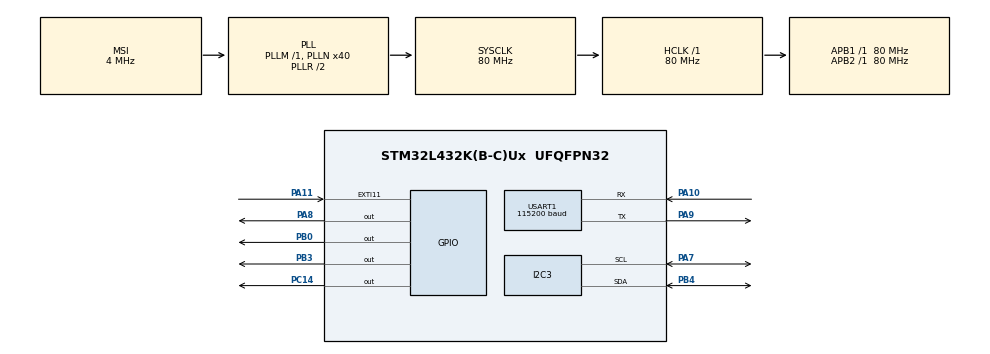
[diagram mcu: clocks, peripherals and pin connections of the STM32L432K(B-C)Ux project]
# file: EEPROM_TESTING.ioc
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I2C3.Speed=50
I2C3.Timing=0x30408CFF
Mcu.Family=STM32L4
Mcu.Name=STM32L432K(B-C)Ux
Mcu.Package=UFQFPN32
NVIC.EXTI15_10_IRQn=true\:0\:0\:false\:false\:true\:true\:true
NVIC.PriorityGroup=NVIC_PRIORITYGROUP_4
PA10.Mode=Asynchronous
PA10.Signal=USART1_RX
PA11.Signal=GPXTI11
PA13\ (JTMS-SWDIO).Mode=Serial_Wire
PA13\ (JTMS-SWDIO).Signal=SYS_JTMS-SWDIO
PA14\ (JTCK-SWCLK).Mode=Serial_Wire
PA14\ (JTCK-SWCLK).Signal=SYS_JTCK-SWCLK
PA7.Mode=I2C
PA7.Signal=I2C3_SCL
PA8.Signal=GPIO_Output
PA9.Mode=Asynchronous
PA9.Signal=USART1_TX
PB0.Signal=GPIO_Output
PB3\ (JTDO-TRACESWO).Signal=GPIO_Output
PB4\ (NJTRST).Mode=I2C
PB4\ (NJTRST).Signal=I2C3_SDA
PC14-OSC32_IN\ (PC14).Signal=GPIO_Output
ProjectManager.HeapSize=0x200
ProjectManager.StackSize=0x400
ProjectManager.TargetToolchain=SW4STM32
RCC.ADCFreq_Value=48000000
RCC.AHBFreq_Value=80000000
RCC.APB1Freq_Value=80000000
RCC.APB1TimFreq_Value=80000000
RCC.APB2Freq_Value=80000000
RCC.APB2TimFreq_Value=80000000
RCC.CortexFreq_Value=80000000
RCC.HCLKFreq_Value=80000000
RCC.HSE_VALUE=8000000
RCC.HSI48_VALUE=48000000
RCC.HSI_VALUE=16000000
RCC.LSE_VALUE=32768
RCC.MSI_VALUE=4000000
RCC.PLLN=40
RCC.PLLSAI1N=24
RCC.SYSCLKFreq_VALUE=80000000
RCC.SYSCLKSource=RCC_SYSCLKSOURCE_PLLCLK
RCC.USBFreq_Value=48000000
RCC.VCOOutputFreq_Value=160000000
USART1.BaudRate=115200
USART1.VirtualMode-Asynchronous=VM_ASYNC
board=custom

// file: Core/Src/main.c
/* USER CODE BEGIN Header */
/**
  ******************************************************************************
  * @file           : main.c
  * @brief          : Main program body
  ******************************************************************************
  * @attention
  *
  * <h2><center>&copy; Copyright (c) 2020 STMicroelectronics.
  * All rights reserved.</center></h2>
  *
  * This software component is licensed by ST under BSD 3-Clause license,
  * the "License"; You may not use this file except in compliance with the
  * License. You may obtain a copy of the License at:
  *                        opensource.org/licenses/BSD-3-Clause
  *
  ******************************************************************************
  */
/* USER CODE END Header */
#include "main.h"

/* USER CODE BEGIN Includes */
#include "i2c-lcd.h"
#include "eeprom.h"
#include "math.h"
/* USER CODE END Includes */

I2C_HandleTypeDef hi2c3;

UART_HandleTypeDef huart1;

void SystemClock_Config(void);
static void MX_GPIO_Init(void);
static void MX_I2C3_Init(void);
static void MX_USART1_UART_Init(void);

/* USER CODE BEGIN 0 */
uint8_t g_dump = 0;
/* USER CODE END 0 */

int main(void)
{

  /* MCU Configuration--------------------------------------------------------*/

  /* Reset of all peripherals, Initializes the Flash interface and the Systick. */
  HAL_Init();

  /* Configure the system clock */
  SystemClock_Config();

  /* Initialize all configured peripherals */
  MX_GPIO_Init();
  MX_I2C3_Init();
  MX_USART1_UART_Init();
  /* USER CODE BEGIN 2 */

  eepromInitialize(&hi2c3, 4000, 0x50);
  uint8_t a = 10;
  char aName[3] = "eea";
  uint8_t b = 20;
  char bName[3] = "eeb";
  uint8_t c = 30;
  char cName[3] = "eec";
  uint8_t d = 40;
  char dName[3] = "eed";
  uint8_t numList[] = {65,65,65,65,64,64,64,64,64,6,464,6,6,6,6,5};
  uint8_t backList[] = {420,420,420};
  char letters[] = "This is a test of addresses";

  eepromLinkStruct(&letters, sizeof(letters), "raj", 2, 0);
  //eLinkStruct(&letters, sizeof(letters), lName, 0);
  //eLinkStruct(&b, sizeof(b), bName, 2, 0);
  //eepromLinkStruct(&numList, sizeof(numList), "bup", 1, 0);

  eepromLinkStruct(&backList, sizeof(backList), "fgh", 1, 0);
  eepromCleanHeaders();

  //ewrite(10,10);
  //ewrite(50,50);
  //ewrite(80,80);
  /* USER CODE END 2 */

  /* Infinite loop */
  /* USER CODE BEGIN WHILE */
  while (1)
  {

    if(g_dump)
    {
      eepromDump(huart1);
      g_dump = 0;
      HAL_GPIO_WritePin(GPIOA, GPIO_PIN_8, GPIO_PIN_RESET);
    }

    /* USER CODE END WHILE */

  }
}

void SystemClock_Config(void)
{
  RCC_OscInitTypeDef RCC_OscInitStruct = {0};
  RCC_ClkInitTypeDef RCC_ClkInitStruct = {0};
  RCC_PeriphCLKInitTypeDef PeriphClkInit = {0};

  /** Initializes the RCC Oscillators according to the specified parameters
  * in the RCC_OscInitTypeDef structure.
  */
  RCC_OscInitStruct.OscillatorType = RCC_OSCILLATORTYPE_MSI;
  RCC_OscInitStruct.MSIState = RCC_MSI_ON;
  RCC_OscInitStruct.MSICalibrationValue = 0;
  RCC_OscInitStruct.MSIClockRange = RCC_MSIRANGE_6;
  RCC_OscInitStruct.PLL.PLLState = RCC_PLL_ON;
  RCC_OscInitStruct.PLL.PLLSource = RCC_PLLSOURCE_MSI;
  RCC_OscInitStruct.PLL.PLLM = 1;
  RCC_OscInitStruct.PLL.PLLN = 40;
  RCC_OscInitStruct.PLL.PLLP = RCC_PLLP_DIV7;
  RCC_OscInitStruct.PLL.PLLQ = RCC_PLLQ_DIV2;
  RCC_OscInitStruct.PLL.PLLR = RCC_PLLR_DIV2;
  if (HAL_RCC_OscConfig(&RCC_OscInitStruct) != HAL_OK)
  {
    Error_Handler();
  }
  /** Initializes the CPU, AHB and APB buses clocks
  */
  RCC_ClkInitStruct.ClockType = RCC_CLOCKTYPE_HCLK|RCC_CLOCKTYPE_SYSCLK
                              |RCC_CLOCKTYPE_PCLK1|RCC_CLOCKTYPE_PCLK2;
  RCC_ClkInitStruct.SYSCLKSource = RCC_SYSCLKSOURCE_PLLCLK;
  RCC_ClkInitStruct.AHBCLKDivider = RCC_SYSCLK_DIV1;
  RCC_ClkInitStruct.APB1CLKDivider = RCC_HCLK_DIV1;
  RCC_ClkInitStruct.APB2CLKDivider = RCC_HCLK_DIV1;

  if (HAL_RCC_ClockConfig(&RCC_ClkInitStruct, FLASH_LATENCY_4) != HAL_OK)
  {
    Error_Handler();
  }
  PeriphClkInit.PeriphClockSelection = RCC_PERIPHCLK_USART1|RCC_PERIPHCLK_I2C3;
  PeriphClkInit.Usart1ClockSelection = RCC_USART1CLKSOURCE_PCLK2;
  PeriphClkInit.I2c3ClockSelection = RCC_I2C3CLKSOURCE_PCLK1;
  if (HAL_RCCEx_PeriphCLKConfig(&PeriphClkInit) != HAL_OK)
  {
    Error_Handler();
  }
  /** Configure the main internal regulator output voltage
  */
  if (HAL_PWREx_ControlVoltageScaling(PWR_REGULATOR_VOLTAGE_SCALE1) != HAL_OK)
  {
    Error_Handler();
  }
}

static void MX_I2C3_Init(void)
{

  hi2c3.Instance = I2C3;
  hi2c3.Init.Timing = 0x30408CFF;
  hi2c3.Init.OwnAddress1 = 0;
  hi2c3.Init.AddressingMode = I2C_ADDRESSINGMODE_7BIT;
  hi2c3.Init.DualAddressMode = I2C_DUALADDRESS_DISABLE;
  hi2c3.Init.OwnAddress2 = 0;
  hi2c3.Init.OwnAddress2Masks = I2C_OA2_NOMASK;
  hi2c3.Init.GeneralCallMode = I2C_GENERALCALL_DISABLE;
  hi2c3.Init.NoStretchMode = I2C_NOSTRETCH_DISABLE;
  if (HAL_I2C_Init(&hi2c3) != HAL_OK)
  {
    Error_Handler();
  }
  /** Configure Analogue filter
  */
  if (HAL_I2CEx_ConfigAnalogFilter(&hi2c3, I2C_ANALOGFILTER_ENABLE) != HAL_OK)
  {
    Error_Handler();
  }
  /** Configure Digital filter
  */
  if (HAL_I2CEx_ConfigDigitalFilter(&hi2c3, 0) != HAL_OK)
  {
    Error_Handler();
  }

}

static void MX_USART1_UART_Init(void)
{

  huart1.Instance = USART1;
  huart1.Init.BaudRate = 115200;
  huart1.Init.WordLength = UART_WORDLENGTH_8B;
  huart1.Init.StopBits = UART_STOPBITS_1;
  huart1.Init.Parity = UART_PARITY_NONE;
  huart1.Init.Mode = UART_MODE_TX_RX;
  huart1.Init.HwFlowCtl = UART_HWCONTROL_NONE;
  huart1.Init.OverSampling = UART_OVERSAMPLING_16;
  huart1.Init.OneBitSampling = UART_ONE_BIT_SAMPLE_DISABLE;
  huart1.AdvancedInit.AdvFeatureInit = UART_ADVFEATURE_NO_INIT;
  if (HAL_UART_Init(&huart1) != HAL_OK)
  {
    Error_Handler();
  }

}

static void MX_GPIO_Init(void)
{
  GPIO_InitTypeDef GPIO_InitStruct = {0};

  /* GPIO Ports Clock Enable */
  __HAL_RCC_GPIOC_CLK_ENABLE();
  __HAL_RCC_GPIOA_CLK_ENABLE();
  __HAL_RCC_GPIOB_CLK_ENABLE();

  /*Configure GPIO pin Output Level */
  HAL_GPIO_WritePin(GPIOC, GPIO_PIN_14, GPIO_PIN_RESET);

  /*Configure GPIO pin Output Level */
  HAL_GPIO_WritePin(GPIOB, GPIO_PIN_0|GPIO_PIN_3, GPIO_PIN_RESET);

  /*Configure GPIO pin Output Level */
  HAL_GPIO_WritePin(GPIOA, GPIO_PIN_8, GPIO_PIN_RESET);

  /*Configure GPIO pin : PC14 */
  GPIO_InitStruct.Pin = GPIO_PIN_14;
  GPIO_InitStruct.Mode = GPIO_MODE_OUTPUT_PP;
  GPIO_InitStruct.Pull = GPIO_NOPULL;
  GPIO_InitStruct.Speed = GPIO_SPEED_FREQ_LOW;
  HAL_GPIO_Init(GPIOC, &GPIO_InitStruct);

  /*Configure GPIO pins : PB0 PB3 */
  GPIO_InitStruct.Pin = GPIO_PIN_0|GPIO_PIN_3;
  GPIO_InitStruct.Mode = GPIO_MODE_OUTPUT_PP;
  GPIO_InitStruct.Pull = GPIO_NOPULL;
  GPIO_InitStruct.Speed = GPIO_SPEED_FREQ_LOW;
  HAL_GPIO_Init(GPIOB, &GPIO_InitStruct);

  /*Configure GPIO pin : PA8 */
  GPIO_InitStruct.Pin = GPIO_PIN_8;
  GPIO_InitStruct.Mode = GPIO_MODE_OUTPUT_PP;
  GPIO_InitStruct.Pull = GPIO_NOPULL;
  GPIO_InitStruct.Speed = GPIO_SPEED_FREQ_LOW;
  HAL_GPIO_Init(GPIOA, &GPIO_InitStruct);

  /*Configure GPIO pin : PA11 */
  GPIO_InitStruct.Pin = GPIO_PIN_11;
  GPIO_InitStruct.Mode = GPIO_MODE_IT_RISING;
  GPIO_InitStruct.Pull = GPIO_NOPULL;
  HAL_GPIO_Init(GPIOA, &GPIO_InitStruct);

  /* EXTI interrupt init*/
  HAL_NVIC_SetPriority(EXTI15_10_IRQn, 0, 0);
  HAL_NVIC_EnableIRQ(EXTI15_10_IRQn);

}

/* USER CODE BEGIN 4 */
void HAL_GPIO_EXTI_Callback(uint16_t GPIO_Pin)
{
  if(GPIO_Pin == GPIO_PIN_11)
  {

    HAL_GPIO_WritePin(GPIOA, GPIO_PIN_8, GPIO_PIN_SET);
    g_dump = 1;

  }
}
/* USER CODE END 4 */

void Error_Handler(void)
{
}

/************************ (C) COPYRIGHT STMicroelectronics *****END OF FILE****/
